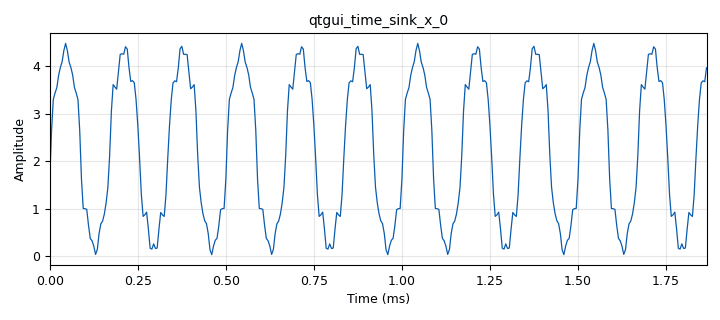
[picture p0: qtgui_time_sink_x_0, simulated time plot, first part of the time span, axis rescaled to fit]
options:
  parameters:
    generate_options: qt_gui
    id: progetto
    output_language: python
    title: Not titled yet
  states: {}

blocks:
- name: samp_rate
  id: variable
  parameters:
    value: '200000'
  states: {}
- name: analog_const_source_x_0
  id: analog_const_source_x
  parameters:
    alias: Y_0
    const: '2.25'
    type: float
  states: {}
- name: analog_sig_source_x_0
  id: analog_sig_source_x
  parameters:
    amp: '2.1708'
    freq: '6000'
    offset: '0'
    phase: '0'
    samp_rate: samp_rate
    type: float
    waveform: analog.GR_COS_WAVE
  states: {}
- name: analog_sig_source_x_0_0
  id: analog_sig_source_x
  parameters:
    amp: '-0.1833'
    freq: '18000'
    offset: '0'
    phase: '0'
    samp_rate: samp_rate
    type: float
    waveform: analog.GR_COS_WAVE
  states: {}
- name: analog_sig_source_x_0_1
  id: analog_sig_source_x
  parameters:
    amp: '0.2396'
    freq: '30000'
    offset: '0'
    phase: '0'
    samp_rate: samp_rate
    type: float
    waveform: analog.GR_COS_WAVE
  states: {}
- name: analog_sig_source_x_0_2
  id: analog_sig_source_x
  parameters:
    amp: '-0.1116'
    freq: '42000'
    offset: '0'
    phase: '0'
    samp_rate: samp_rate
    type: float
    waveform: analog.GR_COS_WAVE
  states: {}
- name: analog_sig_source_x_0_2_0
  id: analog_sig_source_x
  parameters:
    amp: '0.1211'
    freq: '52000'
    offset: '0'
    phase: '0'
    samp_rate: samp_rate
    type: float
    waveform: analog.GR_COS_WAVE
  states: {}
- name: blocks_add_xx_0
  id: blocks_add_xx
  parameters:
    num_inputs: '6'
    type: float
  states: {}
- name: qtgui_freq_sink_x_0
  id: qtgui_freq_sink_x
  parameters:
    bw: samp_rate
    fc: '0'
    fftsize: '1024'
    type: complex
  states: {state: disabled}
- name: qtgui_time_sink_x_0
  id: qtgui_time_sink_x
  parameters:
    grid: 'True'
    size: '4096'
    srate: samp_rate
    tr_level: '2.25'
    tr_mode: qtgui.TRIG_MODE_NORM
    type: float
  states: {}

connections:
- [analog_const_source_x_0, '0', blocks_add_xx_0, '0']
- [analog_sig_source_x_0, '0', blocks_add_xx_0, '1']
- [analog_sig_source_x_0_0, '0', blocks_add_xx_0, '2']
- [analog_sig_source_x_0_1, '0', blocks_add_xx_0, '3']
- [analog_sig_source_x_0_2, '0', blocks_add_xx_0, '4']
- [analog_sig_source_x_0_2_0, '0', blocks_add_xx_0, '5']
- [blocks_add_xx_0, '0', qtgui_time_sink_x_0, '0']

metadata:
  file_format: 1
  grc_version: 3.10.9.2
